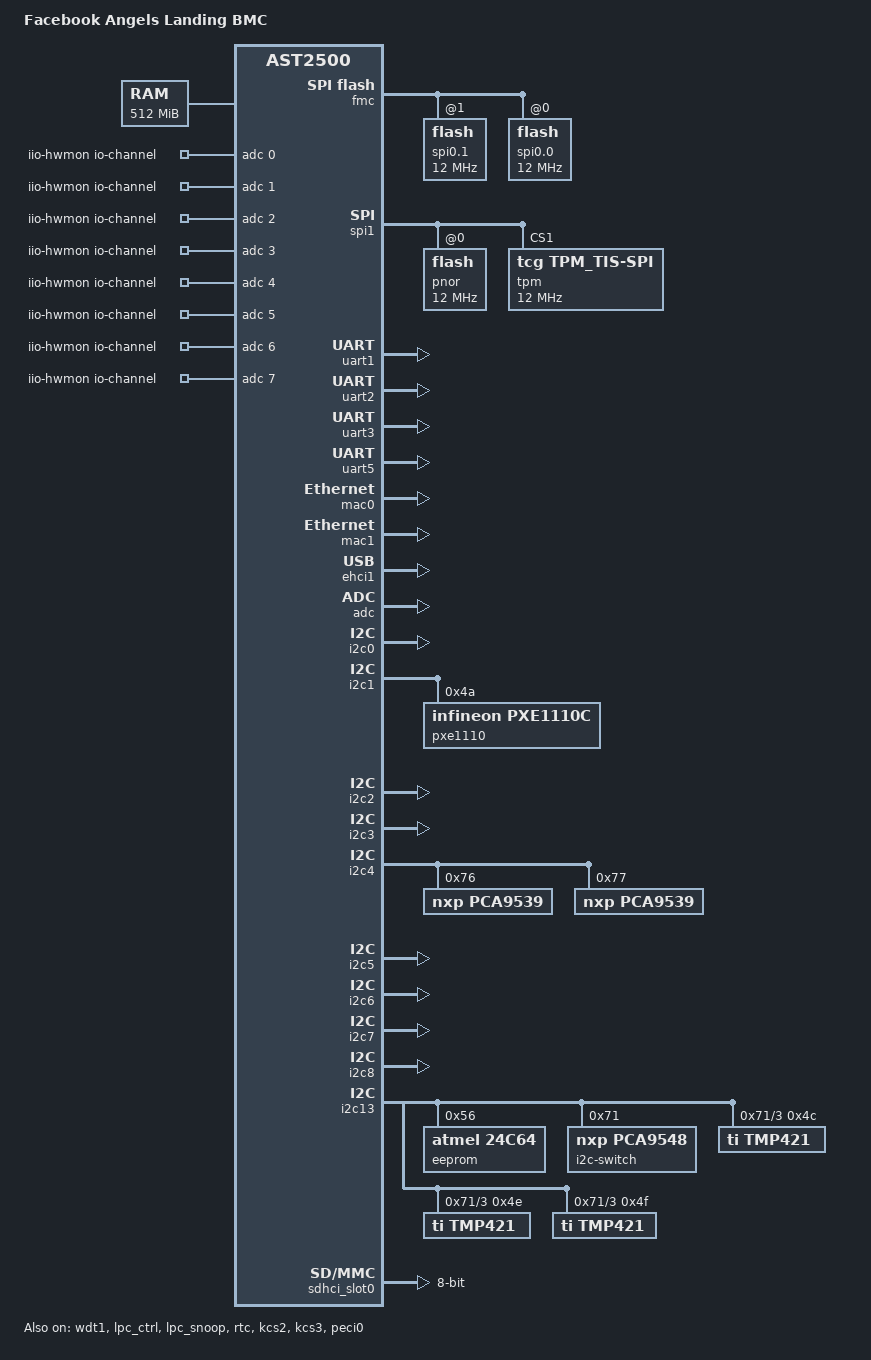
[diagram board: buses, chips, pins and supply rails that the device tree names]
// SPDX-License-Identifier: GPL-2.0+
// Copyright (c) 2018 Facebook Inc.
/dts-v1/;

#include "aspeed-g5.dtsi"

/ {
	model = "Facebook Angels Landing BMC";
	compatible = "facebook,angelslanding-bmc", "aspeed,ast2500";

	aliases {
		/*
		 * Override the default serial aliases to avoid breaking
		 * the legacy applications.
		 */
		serial0 = &uart5;
		serial1 = &uart1;

		i2c16 = &imux16;
		i2c17 = &imux17;
		i2c18 = &imux18;
		i2c19 = &imux19;
		i2c20 = &imux20;
		i2c21 = &imux21;
		i2c22 = &imux22;
		i2c23 = &imux23;
	};

	chosen {
		stdout-path = &uart5;
		bootargs = "debug console=ttyS4,57600n8 root=/dev/ram rw";
	};

	memory@80000000 {
		reg = <0x80000000 0x20000000>;
	};

	iio-hwmon {
		compatible = "iio-hwmon";
		io-channels = <&adc 0>, <&adc 1>, <&adc 2>, <&adc 3>, <&adc 4>,
					<&adc 5>, <&adc 6>, <&adc 7>,<&adc 8>, <&adc 9>,
					<&adc 10>, <&adc 11>,<&adc 12>,<&adc 13>, <&adc 14>;
	};
};

&wdt1 {
	status = "okay";
	pinctrl-names = "default";
	pinctrl-0 = <&pinctrl_wdtrst1_default>;
	aspeed,reset-type = "soc";
	aspeed,external-signal;
	aspeed,ext-push-pull;
	aspeed,ext-active-high;
	aspeed,ext-pulse-duration = <256>;
};

&fmc {
	status = "okay";
	flash@0 {
		reg = < 1 >;
		status = "okay";
		m25p,fast-read;
		label = "spi0.1";
		spi-max-frequency = <12000000>;
#include "facebook-bmc-flash1-layout.dtsi"
	};
	flash@1 {
		reg = < 0 >;
		status = "okay";
		m25p,fast-read;
		label = "spi0.0";
		spi-max-frequency = <12000000>;
#include "facebook-bmc-pfr-flash0-layout.dtsi"
	};
};

&spi1 {
	status = "okay";
	compatible = "aspeed,ast2500-spi-master";

	pinctrl-names = "default";
	pinctrl-0 = <&pinctrl_spi1_default &pinctrl_spi1cs1_default>;

	flash@0 {
		status = "okay";
		m25p,fast-read;
		label = "pnor";
		spi-max-frequency = <12000000>;
	};
	tpm@1 {
		reg = < 1 >;
		compatible = "tcg,tpm_tis-spi";
		spi-max-frequency = <12000000>;
		status = "okay";
	};
};

&ibt {
	status = "disabled";
};

&lpc_ctrl {
	// Enable LPC clock
	status = "okay";
};

&lpc_snoop {
	status = "okay";
	snoop-ports = <0x80>;
};

&gpio {
	aspeed,skip-init-cmdsrc;
};

&rtc {
	status = "okay";
};

&uart1 {
	// Host Console
	resets = <>;
	status = "okay";
	pinctrl-names = "default";
	pinctrl-0 = <&pinctrl_txd1_default
		     &pinctrl_rxd1_default>;
};

&uart2 {
	// SOL Host Console
	resets = <>;
	status = "okay";
};

&uart3 {
	// SOL BMC Console
	status = "okay";
};

&uart5 {
	// BMC Console
	status = "okay";
};

&kcs2 {
	// BMC KCS channel 2
	status = "okay";
	kcs_addr = <0xca8>;
};

&kcs3 {
	// BMC KCS channel 3
	status = "okay";
	kcs_addr = <0xca2>;
};

&mac0 {
	status = "okay";
	no-hw-checksum;
	use-ncsi;
	ncsi-package = <2>;
	ncsi-channel = <2>;
	ncsi-rexmit = <1>;
};

&mac1 {
	status = "okay";
	no-hw-checksum;
	use-ncsi;
	ncsi-package = <2>;
	ncsi-channel = <2>;
	ncsi-rexmit = <1>;
};

&peci0 {
	status = "okay";
};

&ehci1 {
	status = "okay";
};

&adc {
	status = "okay";
};

&i2c0 {
	multi-master;
	aspeed,hw-timeout-ms = <1000>;
	status = "okay";
};

&i2c1 {
	status = "okay";
	pxe1110@4A {
		compatible = "infineon,pxe1110c";
		reg = <0x4a>;
	};
};

&i2c2 {
	multi-master;
	aspeed,hw-timeout-ms = <1000>;
	status = "okay";
};

&i2c3 {
	multi-master;
	status = "okay";
};

&i2c4 {
	status = "okay";
	// I/O Expander
	pca9539@76 {
		compatible = "nxp,pca9539";
		reg = <0x76>;
	};
	pca9539@77 {
		compatible = "nxp,pca9539";
		reg = <0x77>;
	};
};

&i2c5 {
	multi-master;
	aspeed,hw-timeout-ms = <1000>;
	status = "okay";
};

&i2c6 {
	multi-master;
	aspeed,hw-timeout-ms = <1000>;
	status = "okay";
};

&i2c7 {
	multi-master;
	status = "okay";
};

&i2c8 {
	multi-master;
	bus-frequency = <400000>;
	aspeed,hw-timeout-ms = <1000>;
	status = "okay";
};

&i2c13 {
	status = "okay";
 	// BSM FRU
	eeprom@56 {
		compatible = "atmel,24c64";
		reg = <0x56>;
	};

	i2c-switch@71 {
		compatible = "nxp,pca9548";
		#address-cells = <1>;
		#size-cells = <0>;
		reg = <0x71>;
		imux16: i2c@0 {
			#address-cells = <1>;
			#size-cells = <0>;
			reg = <0>;
		};

		imux17: i2c@1 {
			#address-cells = <1>;
			#size-cells = <0>;
			reg = <1>;
		};

		imux18: i2c@2 {
			#address-cells = <1>;
			#size-cells = <0>;
			reg = <2>;
		};

		imux19: i2c@3 {
			#address-cells = <1>;
			#size-cells = <0>;
			reg = <3>;
			tmp421@4c {
				compatible = "ti,tmp421";
				reg = <0x4c>;
			};
			tmp421@4e {
				compatible = "ti,tmp421";
				reg = <0x4e>;
			};
			tmp421@4f {
				compatible = "ti,tmp421";
				reg = <0x4f>;
			};
		};

		imux20: i2c@4 {
			#address-cells = <1>;
			#size-cells = <0>;
			reg = <4>;
		};

		imux21: i2c@5 {
			#address-cells = <1>;
			#size-cells = <0>;
			reg = <5>;
		};

		imux22: i2c@6 {
			#address-cells = <1>;
			#size-cells = <0>;
			reg = <6>;
		};

		imux23: i2c@7 {
			#address-cells = <1>;
			#size-cells = <0>;
			reg = <7>;
		};
	};
};

&sdhci_slot0 {
	// eMMC
	status = "okay";
	bus-width = <8>;
	pinctrl-names = "default";
	pinctrl-0 = <&pinctrl_sd1_default>;
	broken-cd;
};

&sram {
  compatible = "mmio-sram", "syscon";
};
